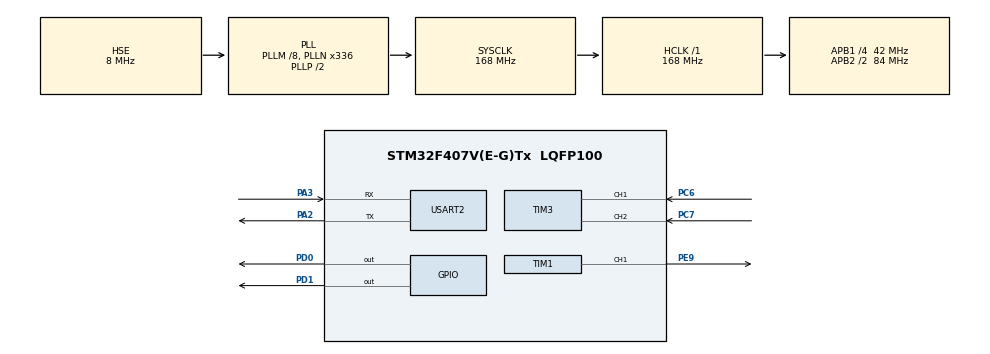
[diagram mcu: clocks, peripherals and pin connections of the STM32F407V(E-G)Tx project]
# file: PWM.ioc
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Dma.Request0=USART2_TX
Dma.Request1=USART2_RX
Dma.USART2_RX.1.Direction=DMA_PERIPH_TO_MEMORY
Dma.USART2_RX.1.FIFOMode=DMA_FIFOMODE_DISABLE
Dma.USART2_RX.1.Instance=DMA1_Stream5
Dma.USART2_RX.1.MemDataAlignment=DMA_MDATAALIGN_BYTE
Dma.USART2_RX.1.MemInc=DMA_MINC_ENABLE
Dma.USART2_RX.1.Mode=DMA_CIRCULAR
Dma.USART2_RX.1.PeriphDataAlignment=DMA_PDATAALIGN_BYTE
Dma.USART2_RX.1.PeriphInc=DMA_PINC_DISABLE
Dma.USART2_RX.1.Priority=DMA_PRIORITY_LOW
Dma.USART2_TX.0.Direction=DMA_MEMORY_TO_PERIPH
Dma.USART2_TX.0.FIFOMode=DMA_FIFOMODE_DISABLE
Dma.USART2_TX.0.Instance=DMA1_Stream6
Dma.USART2_TX.0.MemDataAlignment=DMA_MDATAALIGN_BYTE
Dma.USART2_TX.0.MemInc=DMA_MINC_ENABLE
Dma.USART2_TX.0.Mode=DMA_NORMAL
Dma.USART2_TX.0.PeriphDataAlignment=DMA_PDATAALIGN_BYTE
Dma.USART2_TX.0.PeriphInc=DMA_PINC_DISABLE
Dma.USART2_TX.0.Priority=DMA_PRIORITY_LOW
Mcu.Family=STM32F4
Mcu.Name=STM32F407V(E-G)Tx
Mcu.Package=LQFP100
NVIC.DMA1_Stream5_IRQn=true\:0\:0\:false\:false\:true\:false\:true\:true
NVIC.DMA1_Stream6_IRQn=true\:0\:0\:false\:false\:true\:false\:true\:true
NVIC.PriorityGroup=NVIC_PRIORITYGROUP_4
NVIC.TIM2_IRQn=true\:0\:0\:false\:false\:true\:true\:true\:true
NVIC.TIM4_IRQn=true\:0\:0\:false\:false\:true\:true\:true\:true
NVIC.TIM5_IRQn=true\:0\:0\:false\:false\:true\:true\:true\:true
NVIC.USART2_IRQn=true\:0\:0\:false\:false\:true\:true\:true\:true
PA2.GPIO_PuPd=GPIO_NOPULL
PA2.Mode=Asynchronous
PA2.Signal=USART2_TX
PA3.GPIO_PuPd=GPIO_PULLUP
PA3.Mode=Asynchronous
PA3.Signal=USART2_RX
PC6.Signal=S_TIM3_CH1
PC7.Signal=S_TIM3_CH2
PD0.Signal=GPIO_Output
PD1.Signal=GPIO_Output
PE9.Signal=S_TIM1_CH1
PH0-OSC_IN.Mode=HSE-External-Oscillator
PH0-OSC_IN.Signal=RCC_OSC_IN
PH1-OSC_OUT.Mode=HSE-External-Oscillator
PH1-OSC_OUT.Signal=RCC_OSC_OUT
ProjectManager.HeapSize=0x200
ProjectManager.StackSize=0x400
ProjectManager.TargetToolchain=MDK-ARM V5.32
RCC.48MHZClocksFreq_Value=84000000
RCC.AHBFreq_Value=168000000
RCC.APB1CLKDivider=RCC_HCLK_DIV4
RCC.APB1Freq_Value=42000000
RCC.APB1TimFreq_Value=84000000
RCC.APB2CLKDivider=RCC_HCLK_DIV2
RCC.APB2Freq_Value=84000000
RCC.APB2TimFreq_Value=168000000
RCC.CortexFreq_Value=168000000
RCC.HCLKFreq_Value=168000000
RCC.HSE_VALUE=8000000
RCC.HSI_VALUE=16000000
RCC.LSE_VALUE=32768
RCC.PLLM=8
RCC.PLLN=336
RCC.PLLSourceVirtual=RCC_PLLSOURCE_HSE
RCC.SYSCLKFreq_VALUE=168000000
RCC.SYSCLKSource=RCC_SYSCLKSOURCE_PLLCLK
RCC.VCOOutputFreq_Value=336000000
SH.S_TIM1_CH1.0=TIM1_CH1,PWM Generation1 CH1
SH.S_TIM3_CH1.0=TIM3_CH1,Encoder_Interface
SH.S_TIM3_CH2.0=TIM3_CH2,Encoder_Interface
TIM1.Channel-PWM\ Generation1\ CH1=TIM_CHANNEL_1
TIM1.Period=500-1
TIM1.Prescaler=17-1
TIM2.Period=10000
TIM2.Prescaler=84-1
TIM3.EncoderMode=TIM_ENCODERMODE_TI12
TIM4.Period=28000-1
TIM4.Prescaler=3000-1
TIM5.Period=1000-1
TIM5.Prescaler=1000-1
USART2.VirtualMode=VM_ASYNC
VP_TIM1_VS_ClockSourceINT.Mode=Internal
VP_TIM2_VS_ClockSourceINT.Mode=Internal
VP_TIM4_VS_ClockSourceINT.Mode=Internal
VP_TIM5_VS_ClockSourceINT.Mode=Internal
board=custom

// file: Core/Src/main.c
/* USER CODE BEGIN Header */
/**
  ******************************************************************************
  * @file           : main.c
  * @brief          : Main program body
  ******************************************************************************
  * @attention
  *
  * Copyright (c) 2025 STMicroelectronics.
  * All rights reserved.
  *
  * This software is licensed under terms that can be found in the LICENSE file
  * in the root directory of this software component.
  * If no LICENSE file comes with this software, it is provided AS-IS.
  *
  ******************************************************************************
  */
/* USER CODE END Header */
#include "main.h"

TIM_HandleTypeDef htim1;
TIM_HandleTypeDef htim2;
TIM_HandleTypeDef htim3;
TIM_HandleTypeDef htim4;
TIM_HandleTypeDef htim5;

UART_HandleTypeDef huart2;
DMA_HandleTypeDef hdma_usart2_tx;
DMA_HandleTypeDef hdma_usart2_rx;

void SystemClock_Config(void);
static void MX_GPIO_Init(void);
static void MX_DMA_Init(void);
static void MX_TIM1_Init(void);
static void MX_TIM3_Init(void);
static void MX_TIM2_Init(void);
static void MX_TIM4_Init(void);
static void MX_TIM5_Init(void);
static void MX_USART2_UART_Init(void);

int main(void)
{

  /* MCU Configuration--------------------------------------------------------*/

  /* Reset of all peripherals, Initializes the Flash interface and the Systick. */
  HAL_Init();

  /* Configure the system clock */
  SystemClock_Config();

  /* Initialize all configured peripherals */
  MX_GPIO_Init();
  MX_DMA_Init();
  MX_TIM1_Init();
  MX_TIM3_Init();
  MX_TIM2_Init();
  MX_TIM4_Init();
  MX_TIM5_Init();
  MX_USART2_UART_Init();
  /* USER CODE BEGIN 2 */
  HAL_UART_Transmit_DMA(&huart2, uart_tx_buffer, UART_TX_BUFFER_SIZE);
  HAL_UART_Receive_DMA(&huart2, uart_rx_buffer, UART_RX_BUFFER_SIZE);

  HAL_TIM_PWM_Start(&htim1, TIM_CHANNEL_1);
  HAL_TIM_Base_Start_IT(&htim2);
  HAL_TIM_Encoder_Start(&htim3, TIM_CHANNEL_ALL);
  HAL_TIM_Base_Start_IT(&htim4);
  HAL_TIM_Base_Start_IT(&htim5);
  /* USER CODE END 2 */

  /* Infinite loop */
  /* USER CODE BEGIN WHILE */
  while (1)
  {
	 if (flag_uart_rx == 1)
	 {
		 uart_rx_handler(uart_rx_buffer);
	 }
    /* USER CODE END WHILE */

  }
}

void SystemClock_Config(void)
{
  RCC_OscInitTypeDef RCC_OscInitStruct = {0};
  RCC_ClkInitTypeDef RCC_ClkInitStruct = {0};

  /** Configure the main internal regulator output voltage
  */
  __HAL_RCC_PWR_CLK_ENABLE();
  __HAL_PWR_VOLTAGESCALING_CONFIG(PWR_REGULATOR_VOLTAGE_SCALE1);

  /** Initializes the RCC Oscillators according to the specified parameters
  * in the RCC_OscInitTypeDef structure.
  */
  RCC_OscInitStruct.OscillatorType = RCC_OSCILLATORTYPE_HSE;
  RCC_OscInitStruct.HSEState = RCC_HSE_ON;
  RCC_OscInitStruct.PLL.PLLState = RCC_PLL_ON;
  RCC_OscInitStruct.PLL.PLLSource = RCC_PLLSOURCE_HSE;
  RCC_OscInitStruct.PLL.PLLM = 8;
  RCC_OscInitStruct.PLL.PLLN = 336;
  RCC_OscInitStruct.PLL.PLLP = RCC_PLLP_DIV2;
  RCC_OscInitStruct.PLL.PLLQ = 4;
  if (HAL_RCC_OscConfig(&RCC_OscInitStruct) != HAL_OK)
  {
    Error_Handler();
  }

  /** Initializes the CPU, AHB and APB buses clocks
  */
  RCC_ClkInitStruct.ClockType = RCC_CLOCKTYPE_HCLK|RCC_CLOCKTYPE_SYSCLK
                              |RCC_CLOCKTYPE_PCLK1|RCC_CLOCKTYPE_PCLK2;
  RCC_ClkInitStruct.SYSCLKSource = RCC_SYSCLKSOURCE_PLLCLK;
  RCC_ClkInitStruct.AHBCLKDivider = RCC_SYSCLK_DIV1;
  RCC_ClkInitStruct.APB1CLKDivider = RCC_HCLK_DIV4;
  RCC_ClkInitStruct.APB2CLKDivider = RCC_HCLK_DIV2;

  if (HAL_RCC_ClockConfig(&RCC_ClkInitStruct, FLASH_LATENCY_5) != HAL_OK)
  {
    Error_Handler();
  }
}

static void MX_TIM1_Init(void)
{

  TIM_ClockConfigTypeDef sClockSourceConfig = {0};
  TIM_MasterConfigTypeDef sMasterConfig = {0};
  TIM_OC_InitTypeDef sConfigOC = {0};
  TIM_BreakDeadTimeConfigTypeDef sBreakDeadTimeConfig = {0};

  htim1.Instance = TIM1;
  htim1.Init.Prescaler = 17-1;
  htim1.Init.CounterMode = TIM_COUNTERMODE_UP;
  htim1.Init.Period = 500-1;
  htim1.Init.ClockDivision = TIM_CLOCKDIVISION_DIV1;
  htim1.Init.RepetitionCounter = 0;
  htim1.Init.AutoReloadPreload = TIM_AUTORELOAD_PRELOAD_DISABLE;
  if (HAL_TIM_Base_Init(&htim1) != HAL_OK)
  {
    Error_Handler();
  }
  sClockSourceConfig.ClockSource = TIM_CLOCKSOURCE_INTERNAL;
  if (HAL_TIM_ConfigClockSource(&htim1, &sClockSourceConfig) != HAL_OK)
  {
    Error_Handler();
  }
  if (HAL_TIM_PWM_Init(&htim1) != HAL_OK)
  {
    Error_Handler();
  }
  sMasterConfig.MasterOutputTrigger = TIM_TRGO_RESET;
  sMasterConfig.MasterSlaveMode = TIM_MASTERSLAVEMODE_DISABLE;
  if (HAL_TIMEx_MasterConfigSynchronization(&htim1, &sMasterConfig) != HAL_OK)
  {
    Error_Handler();
  }
  sConfigOC.OCMode = TIM_OCMODE_PWM1;
  sConfigOC.Pulse = 0;
  sConfigOC.OCPolarity = TIM_OCPOLARITY_HIGH;
  sConfigOC.OCNPolarity = TIM_OCNPOLARITY_HIGH;
  sConfigOC.OCFastMode = TIM_OCFAST_DISABLE;
  sConfigOC.OCIdleState = TIM_OCIDLESTATE_RESET;
  sConfigOC.OCNIdleState = TIM_OCNIDLESTATE_RESET;
  if (HAL_TIM_PWM_ConfigChannel(&htim1, &sConfigOC, TIM_CHANNEL_1) != HAL_OK)
  {
    Error_Handler();
  }
  sBreakDeadTimeConfig.OffStateRunMode = TIM_OSSR_DISABLE;
  sBreakDeadTimeConfig.OffStateIDLEMode = TIM_OSSI_DISABLE;
  sBreakDeadTimeConfig.LockLevel = TIM_LOCKLEVEL_OFF;
  sBreakDeadTimeConfig.DeadTime = 0;
  sBreakDeadTimeConfig.BreakState = TIM_BREAK_DISABLE;
  sBreakDeadTimeConfig.BreakPolarity = TIM_BREAKPOLARITY_HIGH;
  sBreakDeadTimeConfig.AutomaticOutput = TIM_AUTOMATICOUTPUT_DISABLE;
  if (HAL_TIMEx_ConfigBreakDeadTime(&htim1, &sBreakDeadTimeConfig) != HAL_OK)
  {
    Error_Handler();
  }
  HAL_TIM_MspPostInit(&htim1);

}

static void MX_TIM2_Init(void)
{

  TIM_ClockConfigTypeDef sClockSourceConfig = {0};
  TIM_MasterConfigTypeDef sMasterConfig = {0};

  htim2.Instance = TIM2;
  htim2.Init.Prescaler = 84-1;
  htim2.Init.CounterMode = TIM_COUNTERMODE_UP;
  htim2.Init.Period = 10000;
  htim2.Init.ClockDivision = TIM_CLOCKDIVISION_DIV1;
  htim2.Init.AutoReloadPreload = TIM_AUTORELOAD_PRELOAD_DISABLE;
  if (HAL_TIM_Base_Init(&htim2) != HAL_OK)
  {
    Error_Handler();
  }
  sClockSourceConfig.ClockSource = TIM_CLOCKSOURCE_INTERNAL;
  if (HAL_TIM_ConfigClockSource(&htim2, &sClockSourceConfig) != HAL_OK)
  {
    Error_Handler();
  }
  sMasterConfig.MasterOutputTrigger = TIM_TRGO_RESET;
  sMasterConfig.MasterSlaveMode = TIM_MASTERSLAVEMODE_DISABLE;
  if (HAL_TIMEx_MasterConfigSynchronization(&htim2, &sMasterConfig) != HAL_OK)
  {
    Error_Handler();
  }

}

static void MX_TIM3_Init(void)
{

  TIM_Encoder_InitTypeDef sConfig = {0};
  TIM_MasterConfigTypeDef sMasterConfig = {0};

  htim3.Instance = TIM3;
  htim3.Init.Prescaler = 0;
  htim3.Init.CounterMode = TIM_COUNTERMODE_UP;
  htim3.Init.Period = 65535;
  htim3.Init.ClockDivision = TIM_CLOCKDIVISION_DIV1;
  htim3.Init.AutoReloadPreload = TIM_AUTORELOAD_PRELOAD_DISABLE;
  sConfig.EncoderMode = TIM_ENCODERMODE_TI12;
  sConfig.IC1Polarity = TIM_ICPOLARITY_RISING;
  sConfig.IC1Selection = TIM_ICSELECTION_DIRECTTI;
  sConfig.IC1Prescaler = TIM_ICPSC_DIV1;
  sConfig.IC1Filter = 0;
  sConfig.IC2Polarity = TIM_ICPOLARITY_RISING;
  sConfig.IC2Selection = TIM_ICSELECTION_DIRECTTI;
  sConfig.IC2Prescaler = TIM_ICPSC_DIV1;
  sConfig.IC2Filter = 0;
  if (HAL_TIM_Encoder_Init(&htim3, &sConfig) != HAL_OK)
  {
    Error_Handler();
  }
  sMasterConfig.MasterOutputTrigger = TIM_TRGO_RESET;
  sMasterConfig.MasterSlaveMode = TIM_MASTERSLAVEMODE_DISABLE;
  if (HAL_TIMEx_MasterConfigSynchronization(&htim3, &sMasterConfig) != HAL_OK)
  {
    Error_Handler();
  }

}

static void MX_TIM4_Init(void)
{

  TIM_ClockConfigTypeDef sClockSourceConfig = {0};
  TIM_MasterConfigTypeDef sMasterConfig = {0};

  htim4.Instance = TIM4;
  htim4.Init.Prescaler = 3000-1;
  htim4.Init.CounterMode = TIM_COUNTERMODE_UP;
  htim4.Init.Period = 28000-1;
  htim4.Init.ClockDivision = TIM_CLOCKDIVISION_DIV1;
  htim4.Init.AutoReloadPreload = TIM_AUTORELOAD_PRELOAD_DISABLE;
  if (HAL_TIM_Base_Init(&htim4) != HAL_OK)
  {
    Error_Handler();
  }
  sClockSourceConfig.ClockSource = TIM_CLOCKSOURCE_INTERNAL;
  if (HAL_TIM_ConfigClockSource(&htim4, &sClockSourceConfig) != HAL_OK)
  {
    Error_Handler();
  }
  sMasterConfig.MasterOutputTrigger = TIM_TRGO_RESET;
  sMasterConfig.MasterSlaveMode = TIM_MASTERSLAVEMODE_DISABLE;
  if (HAL_TIMEx_MasterConfigSynchronization(&htim4, &sMasterConfig) != HAL_OK)
  {
    Error_Handler();
  }

}

static void MX_TIM5_Init(void)
{

  TIM_ClockConfigTypeDef sClockSourceConfig = {0};
  TIM_MasterConfigTypeDef sMasterConfig = {0};

  htim5.Instance = TIM5;
  htim5.Init.Prescaler = 1000-1;
  htim5.Init.CounterMode = TIM_COUNTERMODE_UP;
  htim5.Init.Period = 1000-1;
  htim5.Init.ClockDivision = TIM_CLOCKDIVISION_DIV1;
  htim5.Init.AutoReloadPreload = TIM_AUTORELOAD_PRELOAD_DISABLE;
  if (HAL_TIM_Base_Init(&htim5) != HAL_OK)
  {
    Error_Handler();
  }
  sClockSourceConfig.ClockSource = TIM_CLOCKSOURCE_INTERNAL;
  if (HAL_TIM_ConfigClockSource(&htim5, &sClockSourceConfig) != HAL_OK)
  {
    Error_Handler();
  }
  sMasterConfig.MasterOutputTrigger = TIM_TRGO_RESET;
  sMasterConfig.MasterSlaveMode = TIM_MASTERSLAVEMODE_DISABLE;
  if (HAL_TIMEx_MasterConfigSynchronization(&htim5, &sMasterConfig) != HAL_OK)
  {
    Error_Handler();
  }

}

static void MX_USART2_UART_Init(void)
{

  huart2.Instance = USART2;
  huart2.Init.BaudRate = 115200;
  huart2.Init.WordLength = UART_WORDLENGTH_8B;
  huart2.Init.StopBits = UART_STOPBITS_1;
  huart2.Init.Parity = UART_PARITY_NONE;
  huart2.Init.Mode = UART_MODE_TX_RX;
  huart2.Init.HwFlowCtl = UART_HWCONTROL_NONE;
  huart2.Init.OverSampling = UART_OVERSAMPLING_16;
  if (HAL_UART_Init(&huart2) != HAL_OK)
  {
    Error_Handler();
  }

}

static void MX_DMA_Init(void)
{

  /* DMA controller clock enable */
  __HAL_RCC_DMA1_CLK_ENABLE();

  /* DMA interrupt init */
  /* DMA1_Stream5_IRQn interrupt configuration */
  HAL_NVIC_SetPriority(DMA1_Stream5_IRQn, 0, 0);
  HAL_NVIC_EnableIRQ(DMA1_Stream5_IRQn);
  /* DMA1_Stream6_IRQn interrupt configuration */
  HAL_NVIC_SetPriority(DMA1_Stream6_IRQn, 0, 0);
  HAL_NVIC_EnableIRQ(DMA1_Stream6_IRQn);

}

static void MX_GPIO_Init(void)
{
  GPIO_InitTypeDef GPIO_InitStruct = {0};

  /* GPIO Ports Clock Enable */
  __HAL_RCC_GPIOH_CLK_ENABLE();
  __HAL_RCC_GPIOA_CLK_ENABLE();
  __HAL_RCC_GPIOE_CLK_ENABLE();
  __HAL_RCC_GPIOC_CLK_ENABLE();
  __HAL_RCC_GPIOD_CLK_ENABLE();

  /*Configure GPIO pin Output Level */
  HAL_GPIO_WritePin(GPIOD, GPIO_PIN_0|GPIO_PIN_1, GPIO_PIN_RESET);

  /*Configure GPIO pins : PD0 PD1 */
  GPIO_InitStruct.Pin = GPIO_PIN_0|GPIO_PIN_1;
  GPIO_InitStruct.Mode = GPIO_MODE_OUTPUT_PP;
  GPIO_InitStruct.Pull = GPIO_NOPULL;
  GPIO_InitStruct.Speed = GPIO_SPEED_FREQ_LOW;
  HAL_GPIO_Init(GPIOD, &GPIO_InitStruct);

}

/* USER CODE BEGIN 4 */
uint32_t PSC;
void frequency_control(TIM_HandleTypeDef *htim, uint32_t f_PWM)
{
	uint32_t f_TIM 	= 168000000;
	uint32_t ARR	= htim1.Init.Period;

	PSC = (f_TIM / (ARR + 1)) / f_PWM - 1;

	__HAL_TIM_DISABLE(htim);
	__HAL_TIM_SET_PRESCALER(htim, PSC);
	htim->Instance->EGR = TIM_EGR_UG;
	__HAL_TIM_ENABLE(htim);
}

void HAL_UART_ErrorCallback(UART_HandleTypeDef *huart)
{
    if (huart->Instance == USART2)
    {
        HAL_UART_DMAStop(huart);

        uint32_t temp_flag = 0;
        temp_flag = huart->Instance->SR;
        temp_flag = huart->Instance->DR;
        (void)temp_flag;

        HAL_UART_Receive_DMA(huart, uart_rx_buffer, UART_RX_BUFFER_SIZE);
    }
}
/* USER CODE END 4 */

void Error_Handler(void)
{
  __disable_irq();
  while (1)
  {
  }
}
